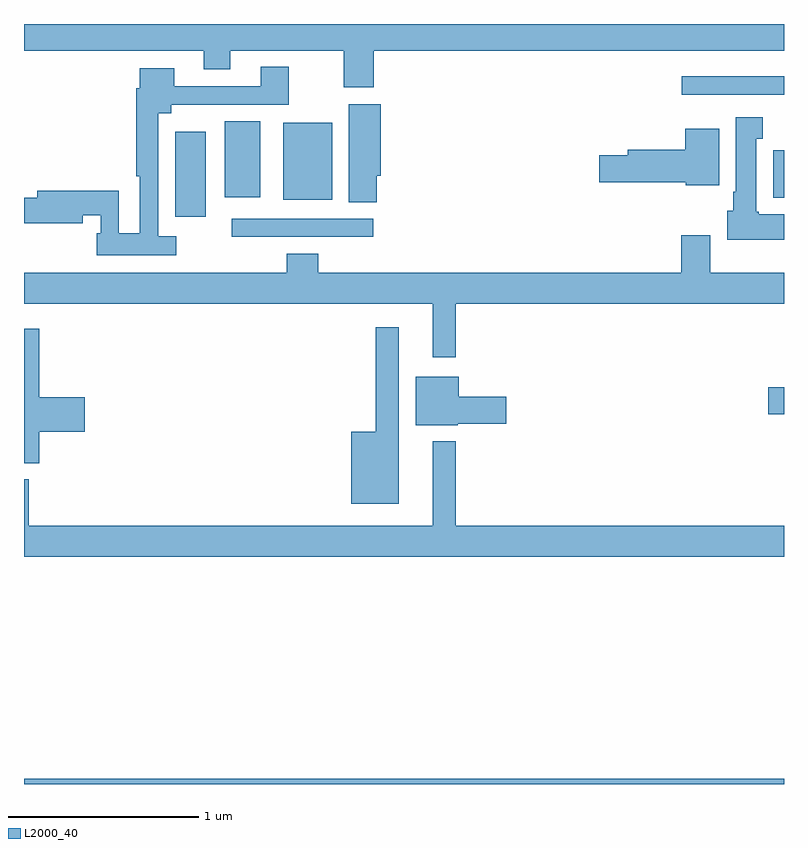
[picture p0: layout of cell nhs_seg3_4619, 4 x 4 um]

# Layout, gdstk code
import gdstk
lib = gdstk.Library(unit=1e-6, precision=1e-09)
def R(c, l, rs):  # rectangles x0, y0, x1, y1
    for r in rs: c.add(gdstk.rectangle(r[:2], r[2:], *l))
def P(c, l, *ps):  # polygons
    for p in ps: c.add(gdstk.Polygon(p, *l))
L2000_40 = (2000, 40)

nhs_seg3_4619 = lib.new_cell('nhs_seg3_4619')
R(nhs_seg3_4619, L2000_40, [(359,686.4,363,686.428), (362.916,688.346,363,688.488), (360.093,689.28,360.838,689.376), (359.795,689.385,359.956,689.833), (360.365,689.474,360.622,689.881), (362.943,689.486,363,689.736), (360.056,689.489,360.244,689.887), (362.463,690.027,363,690.124)])
P(nhs_seg3_4619, L2000_40, [(360.842,690.26),(363,690.26),(363,690.4),(359,690.4),(359,690.26),(359.945,690.26),(359.945,690.161),(360.085,690.161),(360.085,690.26),(360.682,690.26),(360.682,690.066),(360.842,690.066)],
  [(359.8,689.284),(359.706,689.284),(359.706,689.93),(359.776,689.93),(359.776,689.976),(360.393,689.976),(360.393,690.175),(360.245,690.175),(360.245,690.072),(359.791,690.072),(359.791,690.166),(359.609,690.166),(359.609,690.062),(359.59,690.062),(359.59,689.599),(359.61,689.599),(359.61,689.3),(359.499,689.3),(359.499,689.522),(359.069,689.522),(359.069,689.486),(359,689.486),(359,689.351),(359.308,689.351),(359.308,689.394),(359.403,689.394),(359.403,689.298),(359.383,689.298),(359.383,689.184),(359.8,689.184)],
  [(360.857,689.601),(360.878,689.601),(360.878,689.977),(360.71,689.977),(360.71,689.461),(360.857,689.461)],
  [(363,689.398),(362.868,689.398),(362.868,689.412),(362.854,689.412),(362.854,689.795),(362.887,689.795),(362.887,689.908),(362.747,689.908),(362.747,689.518),(362.732,689.518),(362.732,689.418),(362.702,689.418),(362.702,689.264),(363,689.264)],
  [(362.659,689.848),(362.48,689.848),(362.48,689.738),(362.177,689.738),(362.177,689.708),(362.028,689.708),(362.028,689.566),(362.484,689.566),(362.484,689.552),(362.659,689.552)],
  [(361.273,688.928),(363,688.928),(363,689.092),(362.611,689.092),(362.611,689.287),(362.459,689.287),(362.459,689.092),(360.548,689.092),(360.548,689.191),(360.383,689.191),(360.383,689.092),(359,689.092),(359,688.928),(361.151,688.928),(361.151,688.647),(361.273,688.647)],
  [(360.973,688.804),(360.852,688.804),(360.852,688.255),(360.722,688.255),(360.722,687.875),(360.973,687.875)],
  [(359.081,688.253),(359.32,688.253),(359.32,688.436),(359.081,688.436),(359.081,688.795),(359,688.795),(359,688.088),(359.081,688.088)],
  [(361.284,688.295),(361.537,688.295),(361.537,688.437),(361.288,688.437),(361.288,688.543),(361.061,688.543),(361.061,688.289),(361.284,688.289)],
  [(363,687.76),(361.273,687.76),(361.273,688.204),(361.151,688.204),(361.151,687.76),(359.024,687.76),(359.024,688.003),(359,688.003),(359,687.596),(363,687.596)])

lib.write_gds('nhs_seg3_4619.gds')
